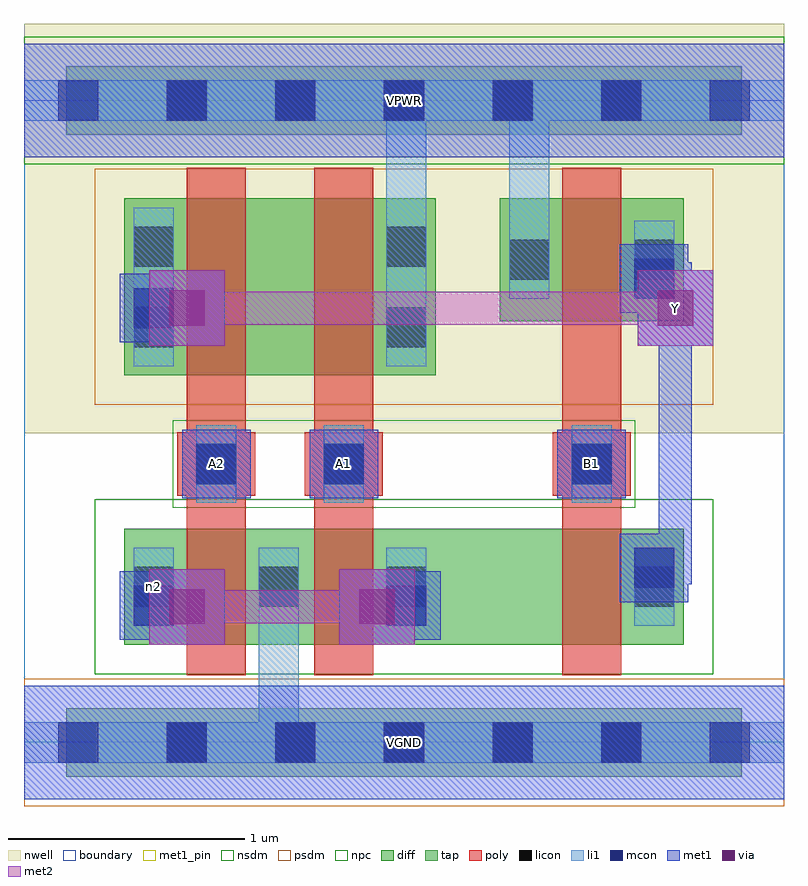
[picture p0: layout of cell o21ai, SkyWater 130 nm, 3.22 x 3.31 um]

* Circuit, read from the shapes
.subckt o21ai A1 A2 B1 VGND VPWR Y n2
XM1 VGND A2 n2 VGND sky130_fd_pr__nfet_01v8 w=0.49 l=0.25
XM2 n2 A1 VGND VGND sky130_fd_pr__nfet_01v8 w=0.49 l=0.25
XM3 Y B1 n2 VGND sky130_fd_pr__nfet_01v8 w=0.49 l=0.25
XM4 n1 A2 Y VPWR sky130_fd_pr__pfet_01v8 w=0.75 l=0.25
XM5 VPWR A1 n1 VPWR sky130_fd_pr__pfet_01v8 w=0.75 l=0.25
XM6 Y B1 VPWR VPWR sky130_fd_pr__pfet_01v8 w=0.52 l=0.25
.ends

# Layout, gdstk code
import gdstk
lib = gdstk.Library(unit=1e-6, precision=1e-09)
def R(c, l, rs):  # rectangles x0, y0, x1, y1
    for r in rs: c.add(gdstk.rectangle(r[:2], r[2:], *l))
def A(c, l, x, y, w, h, nx, ny, dx, dy):  # array of equal rectangles
    R(c, l, [(x+i*dx, y+j*dy, x+i*dx+w, y+j*dy+h) for i in range(nx) for j in range(ny)])
nwell = (64, 20)
diff = (65, 20)
tap = (65, 44)
poly = (66, 20)
licon = (66, 44)
li1 = (67, 20)
mcon = (67, 44)
met1_pin = (68, 16)
met1 = (68, 20)
via = (68, 44)
met2 = (69, 20)
nsdm = (93, 44)
psdm = (94, 20)
npc = (95, 20)
boundary = (235, 4)

o21ai = lib.new_cell('o21ai')
R(o21ai, nwell, [(0,1.31,3.22,3.045)])
R(o21ai, diff, [(0.425,0.415,2.795,0.905), (0.425,1.555,1.745,2.305), (2.015,1.785,2.795,2.305)])
R(o21ai, tap, [(0.18,-0.145,3.04,0.145), (0.18,2.575,3.04,2.865)])
R(o21ai, poly, [(0.69,0.285,0.94,2.435), (1.23,0.285,1.48,2.435), (2.28,0.285,2.53,2.435), (0.65,1.045,0.98,1.315), (1.19,1.045,1.52,1.315), (2.24,1.045,2.57,1.315)])
A(o21ai, licon, 0.605, -0.085, 0.17, 0.17, 5, 2, 0.46, 2.72)
R(o21ai, licon, [(0.465,0.575,0.635,0.745), (0.995,0.575,1.165,0.745), (1.535,0.575,1.705,0.745), (2.585,0.575,2.755,0.745), (0.73,1.095,0.9,1.265), (1.27,1.095,1.44,1.265), (2.32,1.095,2.49,1.265), (0.465,1.675,0.635,1.845), (1.535,1.675,1.705,1.845), (2.055,1.96,2.225,2.13), (2.585,1.96,2.755,2.13), (0.465,2.015,0.635,2.185), (1.535,2.015,1.705,2.185)])
R(o21ai, li1, [(0,-0.085,3.22,0.085), (0.995,-0.085,1.165,0.825), (0.465,0.495,0.635,0.825), (0.995,0.495,1.165,0.825), (1.535,0.495,1.705,0.825), (2.585,0.495,2.755,0.825), (0.73,1.015,0.9,1.345), (1.27,1.015,1.44,1.345), (2.32,1.015,2.49,1.345), (0.465,1.595,0.635,2.265), (1.535,1.595,1.705,2.265), (1.535,1.595,1.705,2.805), (2.055,1.88,2.225,2.21), (2.055,1.88,2.225,2.805), (2.585,1.88,2.755,2.21), (0,2.635,3.22,2.805)])
A(o21ai, mcon, 0.145, -0.085, 0.17, 0.17, 7, 2, 0.46, 2.72)
R(o21ai, mcon, [(0.465,0.495,0.635,0.665), (1.535,0.495,1.705,0.665), (2.585,0.655,2.755,0.825), (0.73,1.095,0.9,1.265), (1.27,1.095,1.44,1.265), (2.32,1.095,2.49,1.265), (0.465,1.755,0.635,1.925), (2.585,1.88,2.755,2.05)])
R(o21ai, met1_pin, [(0,-0.24,3.22,0.24), (0.67,1.035,0.96,1.325), (1.21,1.035,1.5,1.325), (2.26,1.035,2.55,1.325), (2.6,1.68,2.92,2), (0,2.48,3.22,2.96)])
R(o21ai, met1, [(0,-0.24,3.22,0.24), (0.53,0.415,0.85,0.735), (1.335,0.415,1.655,0.735), (0.405,0.435,0.695,0.725), (1.475,0.435,1.765,0.725), (0.62,0.505,0.76,0.65), (1.425,0.505,1.565,0.65), (0.48,0.51,0.76,0.65), (1.425,0.51,1.69,0.65), (2.525,0.595,2.815,0.885), (2.6,0.67,2.83,0.81), (2.69,0.67,2.83,0.99), (2.69,0.85,2.83,1.91), (0.67,1.035,0.96,1.325), (1.21,1.035,1.5,1.325), (2.26,1.035,2.55,1.325), (0.53,1.68,0.85,2), (2.6,1.68,2.92,2), (0.405,1.695,0.695,1.985), (0.48,1.77,0.76,1.91), (2.69,1.77,2.83,2.035), (2.525,1.82,2.815,2.11), (2.6,1.895,2.83,2.035), (0,2.48,3.22,2.96)])
R(o21ai, via, [(0.615,0.5,0.765,0.65), (1.42,0.5,1.57,0.65), (0.615,1.765,0.765,1.915), (2.685,1.765,2.835,1.915)])
R(o21ai, met2, [(0.53,0.415,0.85,0.735), (1.335,0.415,1.655,0.735), (0.62,0.505,1.565,0.645), (0.53,1.68,0.85,2), (2.6,1.68,2.92,2), (0.62,1.77,2.83,1.91)])
R(o21ai, nsdm, [(0.3,0.29,2.92,1.03), (0,2.45,3.22,2.99)])
R(o21ai, psdm, [(0,-0.27,3.22,0.27), (0.3,1.43,2.92,2.43)])
R(o21ai, npc, [(0.63,0.995,2.59,1.365)])
R(o21ai, boundary, [(0,0,3.22,2.72)])
o21ai.add(gdstk.Label('n2', (0.55,0.66), layer=67, texttype=5))
o21ai.add(gdstk.Label('A1', (1.355,1.18), layer=68, texttype=5))
o21ai.add(gdstk.Label('A2', (0.815,1.18), layer=68, texttype=5))
o21ai.add(gdstk.Label('B1', (2.405,1.18), layer=68, texttype=5))
o21ai.add(gdstk.Label('Y', (2.76,1.84), layer=68, texttype=5))
o21ai.add(gdstk.Label('VPWR', (1.61,2.72), layer=68, texttype=5))
o21ai.add(gdstk.Label('VGND', (1.61,0), layer=68, texttype=5))
o21ai.add(gdstk.Label('A1', (1.355,1.18), layer=68, texttype=16))
o21ai.add(gdstk.Label('A2', (0.815,1.18), layer=68, texttype=16))
o21ai.add(gdstk.Label('B1', (2.405,1.18), layer=68, texttype=16))
o21ai.add(gdstk.Label('Y', (2.76,1.84), layer=68, texttype=16))
o21ai.add(gdstk.Label('VPWR', (1.61,2.72), layer=68, texttype=16))
o21ai.add(gdstk.Label('VGND', (1.61,0), layer=68, texttype=16))

lib.write_gds('o21ai.gds')
